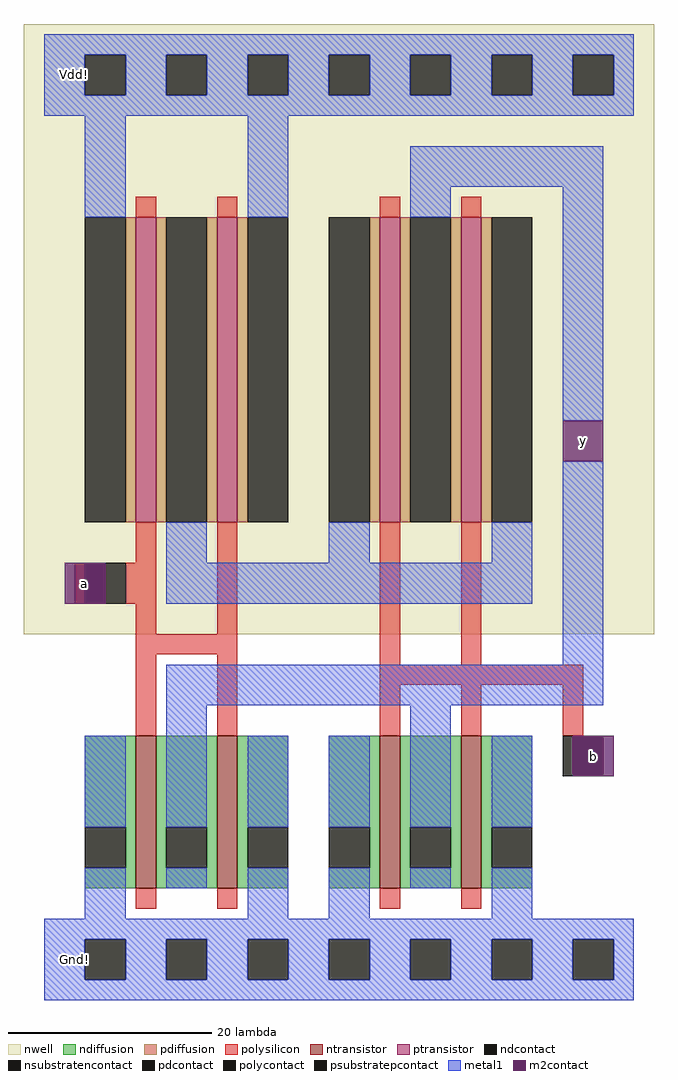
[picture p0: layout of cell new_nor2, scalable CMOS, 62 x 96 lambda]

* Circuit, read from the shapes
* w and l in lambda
.subckt new_nor2 Gnd! Vdd! a b y
M1 y a Gnd! Gnd! nfet w=15 l=2 m=2
M2 y b Gnd! Gnd! nfet w=15 l=2 m=2
M3 n1 a Vdd! Vdd! pfet w=30 l=2 m=2
M4 y b n1 Vdd! pfet w=30 l=2 m=2
.ends

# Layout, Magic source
magic
tech scmos
<< nwell >>
rect -48 16 14 76
<< ntransistor >>
rect -37 -9 -35 6
rect -29 -9 -27 6
rect -13 -9 -11 6
rect -5 -9 -3 6
<< ptransistor >>
rect -37 27 -35 57
rect -29 27 -27 57
rect -13 27 -11 57
rect -5 27 -3 57
<< ndiffusion >>
rect -42 -3 -37 6
rect -38 -7 -37 -3
rect -42 -9 -37 -7
rect -35 -3 -29 6
rect -35 -7 -34 -3
rect -30 -7 -29 -3
rect -35 -9 -29 -7
rect -27 -3 -22 6
rect -27 -7 -26 -3
rect -27 -9 -22 -7
rect -18 -3 -13 6
rect -14 -7 -13 -3
rect -18 -9 -13 -7
rect -11 -3 -5 6
rect -11 -7 -10 -3
rect -6 -7 -5 -3
rect -11 -9 -5 -7
rect -3 -3 2 6
rect -3 -7 -2 -3
rect -3 -9 2 -7
<< pdiffusion >>
rect -38 27 -37 57
rect -35 27 -34 57
rect -30 27 -29 57
rect -27 27 -26 57
rect -14 27 -13 57
rect -11 27 -10 57
rect -6 27 -5 57
rect -3 27 -2 57
<< ndcontact >>
rect -42 -7 -38 -3
rect -34 -7 -30 -3
rect -26 -7 -22 -3
rect -18 -7 -14 -3
rect -10 -7 -6 -3
rect -2 -7 2 -3
<< pdcontact >>
rect -42 27 -38 57
rect -34 27 -30 57
rect -26 27 -22 57
rect -18 27 -14 57
rect -10 27 -6 57
rect -2 27 2 57
<< psubstratepcontact >>
rect -42 -18 -38 -14
rect -34 -18 -30 -14
rect -26 -18 -22 -14
rect -18 -18 -14 -14
rect -10 -18 -6 -14
rect -2 -18 2 -14
rect 6 -18 10 -14
<< nsubstratencontact >>
rect -42 69 -38 73
rect -34 69 -30 73
rect -26 69 -22 73
rect -18 69 -14 73
rect -10 69 -6 73
rect -2 69 2 73
rect 6 69 10 73
<< polysilicon >>
rect -37 57 -35 59
rect -29 57 -27 59
rect -13 57 -11 59
rect -5 57 -3 59
rect -37 23 -35 27
rect -43 19 -42 23
rect -38 19 -35 23
rect -37 16 -35 19
rect -29 16 -27 27
rect -37 14 -27 16
rect -37 6 -35 14
rect -29 6 -27 14
rect -13 13 -11 27
rect -5 13 -3 27
rect -13 11 7 13
rect -13 6 -11 11
rect -5 6 -3 11
rect 5 6 7 11
rect -37 -11 -35 -9
rect -29 -11 -27 -9
rect -13 -11 -11 -9
rect -5 -11 -3 -9
<< polycontact >>
rect -42 19 -38 23
rect 5 2 9 6
<< metal1 >>
rect -46 73 12 75
rect -46 69 -42 73
rect -38 69 -34 73
rect -30 69 -26 73
rect -22 69 -18 73
rect -14 69 -10 73
rect -6 69 -2 73
rect 2 69 6 73
rect 10 69 12 73
rect -46 67 12 69
rect -42 57 -38 67
rect -26 57 -22 67
rect -10 60 9 64
rect -10 57 -6 60
rect -34 23 -30 27
rect -18 23 -14 27
rect -2 23 2 27
rect -34 19 2 23
rect 5 37 9 60
rect 5 13 9 33
rect -34 9 9 13
rect -42 -3 -38 6
rect -42 -12 -38 -7
rect -34 -3 -30 9
rect -34 -9 -30 -7
rect -26 -3 -22 6
rect -26 -12 -22 -7
rect -18 -3 -14 6
rect -18 -12 -14 -7
rect -10 -3 -6 9
rect -10 -9 -6 -7
rect -2 -3 2 6
rect -2 -12 2 -7
rect -46 -14 12 -12
rect -46 -18 -42 -14
rect -38 -18 -34 -14
rect -30 -18 -26 -14
rect -22 -18 -18 -14
rect -14 -18 -10 -14
rect -6 -18 -2 -14
rect 2 -18 6 -14
rect 10 -18 12 -14
rect -46 -20 12 -18
<< m2contact >>
rect -44 19 -42 23
rect -42 19 -40 23
rect 5 33 9 37
rect 6 2 9 6
rect 9 2 10 6
<< labels >>
rlabel metal1 -43 -16 -43 -16 3 Gnd!
rlabel m2contact 7 35 7 35 1 y
rlabel metal1 -43 71 -43 71 3 Vdd!
rlabel m2contact 8 4 8 4 1 b
rlabel m2contact -42 21 -42 21 1 a
<< end >>
